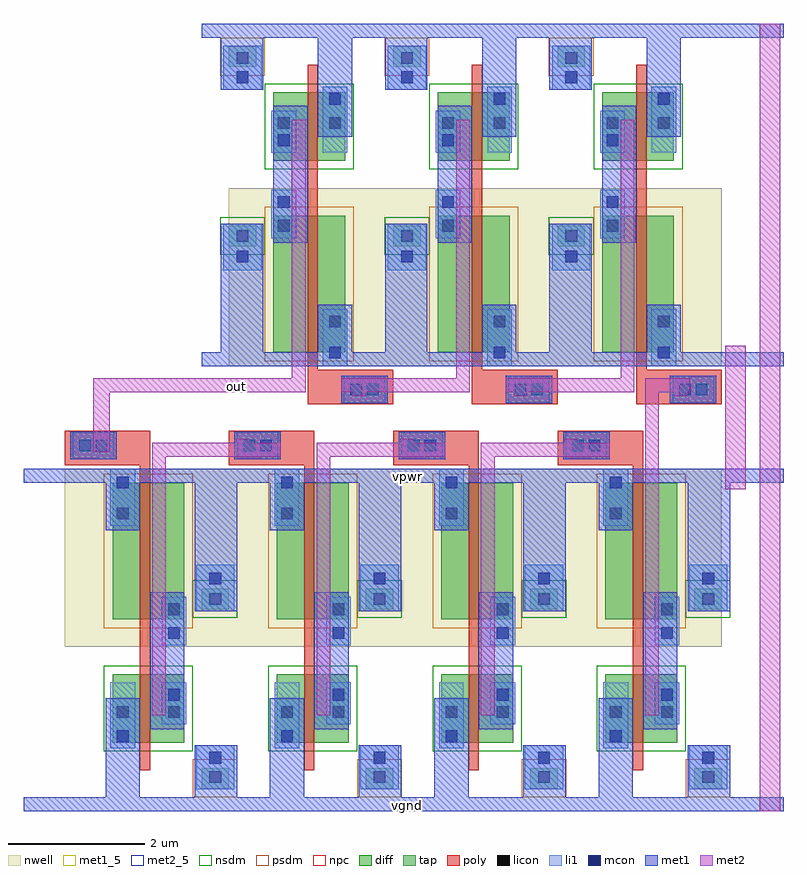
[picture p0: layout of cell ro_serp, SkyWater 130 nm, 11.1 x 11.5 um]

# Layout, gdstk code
import gdstk
lib = gdstk.Library(unit=1e-6, precision=1e-09)
def R(c, l, rs):  # rectangles x0, y0, x1, y1
    for r in rs: c.add(gdstk.rectangle(r[:2], r[2:], *l))
def A(c, l, x, y, w, h, nx, ny, dx, dy):  # array of equal rectangles
    R(c, l, [(x+i*dx, y+j*dy, x+i*dx+w, y+j*dy+h) for i in range(nx) for j in range(ny)])
nwell = (64, 20)
diff = (65, 20)
tap = (65, 44)
poly = (66, 20)
licon = (66, 44)
li1 = (67, 20)
mcon = (67, 44)
met1_5 = (68, 5)
met1 = (68, 20)
met2_5 = (69, 5)
met2 = (69, 20)
nsdm = (93, 44)
psdm = (94, 20)
npc = (95, 20)

ro_serp = lib.new_cell('ro_serp')
R(ro_serp, nwell, [(0,2.4,9.6,5), (2.4,6.5,9.6,9.1)])
A(ro_serp, diff, 0.7, 1, 1.05, 1, 4, 1, 2.4, 0)
A(ro_serp, diff, 0.7, 2.8, 1.05, 2, 4, 1, 2.4, 0)
A(ro_serp, diff, 3.05, 6.7, 1.05, 2, 3, 1, 2.4, 0)
A(ro_serp, diff, 3.05, 9.5, 1.05, 1, 3, 1, 2.4, 0)
A(ro_serp, tap, 2, 0.33, 0.4, 0.3, 4, 2, 2.4, 2.62)
A(ro_serp, tap, 2.4, 8.25, 0.4, 0.3, 3, 2, 2.4, 2.62)
A(ro_serp, poly, 1.1, 0.6, 0.15, 4.45, 4, 1, 2.4, 0)
A(ro_serp, poly, 0, 5.05, 1.25, 0.51, 4, 1, 2.4, 0)
A(ro_serp, poly, 3.55, 5.94, 1.25, 0.51, 3, 1, 2.4, 0)
A(ro_serp, poly, 3.55, 6.45, 0.15, 4.45, 3, 1, 2.4, 0)
A(ro_serp, licon, 2.115, 0.415, 0.17, 0.17, 4, 2, 2.4, 2.6)
A(ro_serp, licon, 1.515, 2.865, 0.17, 0.17, 4, 1, 2.4, 0)
A(ro_serp, licon, 0.765, 4.265, 0.17, 0.17, 4, 1, 2.4, 0)
A(ro_serp, licon, 0.215, 5.255, 0.17, 0.17, 4, 1, 2.4, 0)
A(ro_serp, licon, 4.415, 6.075, 0.17, 0.17, 3, 1, 2.4, 0)
A(ro_serp, licon, 3.865, 7.065, 0.17, 0.17, 3, 1, 2.4, 0)
A(ro_serp, licon, 2.515, 8.315, 0.17, 0.17, 3, 2, 2.4, 2.6)
A(ro_serp, licon, 3.115, 8.465, 0.17, 0.17, 3, 1, 2.4, 0)
R(ro_serp, licon, [(0.765,1.365,0.935,1.535), (1.515,1.365,1.685,1.535), (3.165,1.365,3.335,1.535), (3.915,1.365,4.085,1.535), (5.565,1.365,5.735,1.535), (6.315,1.365,6.485,1.535), (7.965,1.365,8.135,1.535), (8.715,1.365,8.885,1.535), (3.115,9.965,3.285,10.135), (3.865,9.965,4.035,10.135), (5.515,9.965,5.685,10.135), (6.265,9.965,6.435,10.135), (7.915,9.965,8.085,10.135), (8.665,9.965,8.835,10.135)])
A(ro_serp, li1, 1.92, 0.32, 0.56, 0.64, 4, 1, 2.4, 0)
A(ro_serp, li1, 0.67, 0.92, 0.36, 0.96, 4, 1, 2.4, 0)
A(ro_serp, li1, 1.42, 1.27, 0.36, 0.61, 4, 1, 2.4, 0)
A(ro_serp, li1, 1.42, 2.42, 0.36, 0.71, 4, 1, 2.4, 0)
A(ro_serp, li1, 1.92, 2.92, 0.56, 0.68, 4, 1, 2.4, 0)
A(ro_serp, li1, 0.67, 4.17, 0.36, 0.83, 4, 1, 2.4, 0)
A(ro_serp, li1, 0.12, 5.14, 0.6, 0.4, 4, 1, 2.4, 0)
A(ro_serp, li1, 4.08, 5.96, 0.6, 0.4, 3, 1, 2.4, 0)
A(ro_serp, li1, 3.77, 6.5, 0.36, 0.83, 3, 1, 2.4, 0)
A(ro_serp, li1, 2.32, 7.9, 0.56, 0.68, 3, 1, 2.4, 0)
A(ro_serp, li1, 3.02, 8.37, 0.36, 0.71, 3, 1, 2.4, 0)
A(ro_serp, li1, 3.02, 9.62, 0.36, 0.61, 3, 1, 2.4, 0)
A(ro_serp, li1, 3.77, 9.62, 0.36, 0.96, 3, 1, 2.4, 0)
A(ro_serp, li1, 2.32, 10.54, 0.56, 0.64, 3, 1, 2.4, 0)
A(ro_serp, mcon, 2.115, 0.695, 0.17, 0.17, 4, 2, 2.4, 2.62)
A(ro_serp, mcon, 0.765, 1.015, 0.17, 0.17, 4, 2, 2.4, 3.7)
A(ro_serp, mcon, 1.515, 1.615, 0.17, 0.17, 4, 2, 2.4, 0.9)
A(ro_serp, mcon, 0.455, 5.255, 0.17, 0.17, 4, 1, 2.4, 0)
A(ro_serp, mcon, 4.175, 6.075, 0.17, 0.17, 3, 1, 2.4, 0)
A(ro_serp, mcon, 3.865, 6.615, 0.17, 0.17, 3, 2, 2.4, 3.7)
A(ro_serp, mcon, 2.515, 8.015, 0.17, 0.17, 3, 2, 2.4, 2.62)
A(ro_serp, mcon, 3.115, 8.815, 0.17, 0.17, 3, 2, 2.4, 0.9)
R(ro_serp, met1_5, [(5,0.08,5.02,0.1), (5,4.88,5.02,4.9)])
A(ro_serp, met1, 0.6, 0.2, 0.5, 1.45, 4, 1, 2.4, 0)
A(ro_serp, met1, 1.9, 0.2, 0.62, 0.76, 4, 1, 2.4, 0)
A(ro_serp, met1, 1.25, 1.2, 0.5, 2, 4, 1, 2.4, 0)
A(ro_serp, met1, 1.9, 2.92, 0.62, 1.88, 4, 1, 2.4, 0)
A(ro_serp, met1, 0.6, 4.1, 0.5, 0.7, 4, 1, 2.4, 0)
A(ro_serp, met1, 0.08, 5.14, 0.68, 0.4, 4, 1, 2.4, 0)
A(ro_serp, met1, 4.04, 5.96, 0.68, 0.4, 3, 1, 2.4, 0)
A(ro_serp, met1, 2.28, 6.7, 0.62, 1.88, 3, 1, 2.4, 0)
A(ro_serp, met1, 3.7, 6.7, 0.5, 0.7, 3, 1, 2.4, 0)
A(ro_serp, met1, 3.05, 8.3, 0.5, 2, 3, 1, 2.4, 0)
A(ro_serp, met1, 3.7, 9.85, 0.5, 1.45, 3, 1, 2.4, 0)
A(ro_serp, met1, 2.28, 10.54, 0.62, 0.76, 3, 1, 2.4, 0)
R(ro_serp, met1, [(-0.6,0,10.5,0.2), (-0.6,4.8,10.5,5), (2,6.5,10.5,6.7), (2,11.3,10.5,11.5)])
R(ro_serp, met2_5, [(2.5,6.2,2.52,6.22)])
A(ro_serp, met2, 1.28, 1.4, 0.2, 3.78, 3, 1, 2.4, 0)
A(ro_serp, met2, 1.28, 5.18, 1.88, 0.2, 3, 1, 2.4, 0)
A(ro_serp, met2, 2.5, 5.38, 0.2, 0.06, 3, 1, 2.4, 0)
A(ro_serp, met2, 3.32, 6.32, 0.2, 3.78, 3, 1, 2.4, 0)
R(ro_serp, met2, [(10.15,0,10.45,11.5), (8.48,1.4,8.68,6.12), (9.65,4.7,9.95,6.8), (0.42,5.24,0.66,6.12), (4.2,6.06,4.4,6.12), (6.56,6.06,6.76,6.12), (8.9,6.06,9.1,6.12), (0.42,6.12,3.52,6.32), (4.04,6.12,5.92,6.32), (6.44,6.12,8.32,6.32), (8.48,6.12,9.14,6.32)])
A(ro_serp, nsdm, 0.575, 0.875, 1.3, 1.25, 4, 1, 2.4, 0)
A(ro_serp, nsdm, 1.875, 2.825, 0.65, 0.55, 4, 1, 2.4, 0)
A(ro_serp, nsdm, 2.275, 8.125, 0.65, 0.55, 3, 1, 2.4, 0)
A(ro_serp, nsdm, 2.925, 9.375, 1.3, 1.25, 3, 1, 2.4, 0)
A(ro_serp, psdm, 1.875, 0.205, 0.65, 0.55, 4, 1, 2.4, 0)
A(ro_serp, psdm, 0.575, 2.675, 1.3, 2.25, 4, 1, 2.4, 0)
A(ro_serp, psdm, 2.925, 6.575, 1.3, 2.25, 3, 1, 2.4, 0)
A(ro_serp, psdm, 2.275, 10.745, 0.65, 0.55, 3, 1, 2.4, 0)
A(ro_serp, npc, 0.115, 5.155, 0.37, 0.37, 4, 1, 2.4, 0)
A(ro_serp, npc, 4.315, 5.975, 0.37, 0.37, 3, 1, 2.4, 0)
ro_serp.add(gdstk.Label('vpwr', (5.01,4.89), layer=68, texttype=5))
ro_serp.add(gdstk.Label('vgnd', (5.01,0.09), layer=68, texttype=5))
ro_serp.add(gdstk.Label('out', (2.51,6.21), layer=69, texttype=5))

lib.write_gds('ro_serp.gds')
